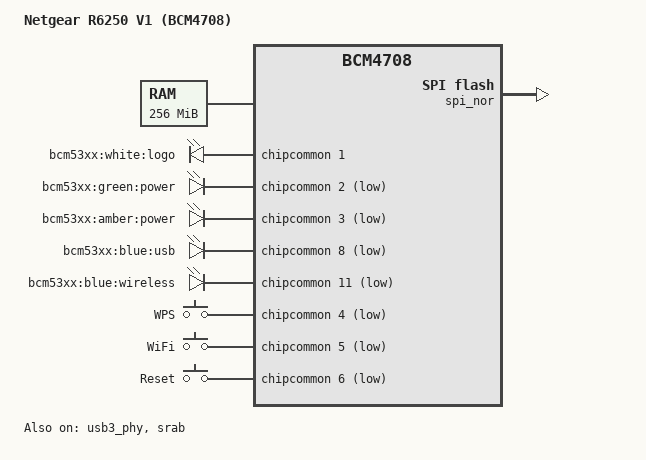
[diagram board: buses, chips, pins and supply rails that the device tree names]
/*
 * Broadcom BCM470X / BCM5301X arm platform code.
 * DTS for Netgear R6250 V1
 *
 * Copyright 2013 Hauke Mehrtens <hauke@hauke-m.de>
 *
 * Licensed under the GNU/GPL. See COPYING for details.
 */

/dts-v1/;

#include "bcm4708.dtsi"
#include "bcm5301x-nand-cs0-bch8.dtsi"

/ {
	compatible = "netgear,r6250-v1", "brcm,bcm4708";
	model = "Netgear R6250 V1 (BCM4708)";

	chosen {
		bootargs = "console=ttyS0,115200 earlycon";
	};

	memory@0 {
		device_type = "memory";
		reg = <0x00000000 0x08000000>,
		      <0x88000000 0x08000000>;
	};

	leds {
		compatible = "gpio-leds";

		led-logo {
			label = "bcm53xx:white:logo";
			gpios = <&chipcommon 1 GPIO_ACTIVE_HIGH>;
			linux,default-trigger = "default-on";
		};

		led-power0 {
			label = "bcm53xx:green:power";
			gpios = <&chipcommon 2 GPIO_ACTIVE_LOW>;
			linux,default-trigger = "default-on";
		};

		led-power1 {
			label = "bcm53xx:amber:power";
			gpios = <&chipcommon 3 GPIO_ACTIVE_LOW>;
		};

		led-usb {
			label = "bcm53xx:blue:usb";
			gpios = <&chipcommon 8 GPIO_ACTIVE_LOW>;
			trigger-sources = <&ohci_port1>, <&ehci_port1>,
					  <&xhci_port1>;
			linux,default-trigger = "usbport";
		};

		led-wireless {
			label = "bcm53xx:blue:wireless";
			gpios = <&chipcommon 11 GPIO_ACTIVE_LOW>;
		};
	};

	gpio-keys {
		compatible = "gpio-keys";

		button-wps {
			label = "WPS";
			linux,code = <KEY_WPS_BUTTON>;
			gpios = <&chipcommon 4 GPIO_ACTIVE_LOW>;
		};

		button-rfkill {
			label = "WiFi";
			linux,code = <KEY_RFKILL>;
			gpios = <&chipcommon 5 GPIO_ACTIVE_LOW>;
		};

		button-restart {
			label = "Reset";
			linux,code = <KEY_RESTART>;
			gpios = <&chipcommon 6 GPIO_ACTIVE_LOW>;
		};
	};
};

&usb3 {
	vcc-gpio = <&chipcommon 0 GPIO_ACTIVE_HIGH>;
};

&spi_nor {
	status = "okay";
};

&usb3_phy {
	status = "okay";
};

&srab {
	status = "okay";

	ports {
		port@0 {
			label = "lan4";
		};

		port@1 {
			label = "lan3";
		};

		port@2 {
			label = "lan2";
		};

		port@3 {
			label = "lan1";
		};

		port@4 {
			label = "wan";
		};

		port@5 {
			label = "cpu";
		};
	};
};
